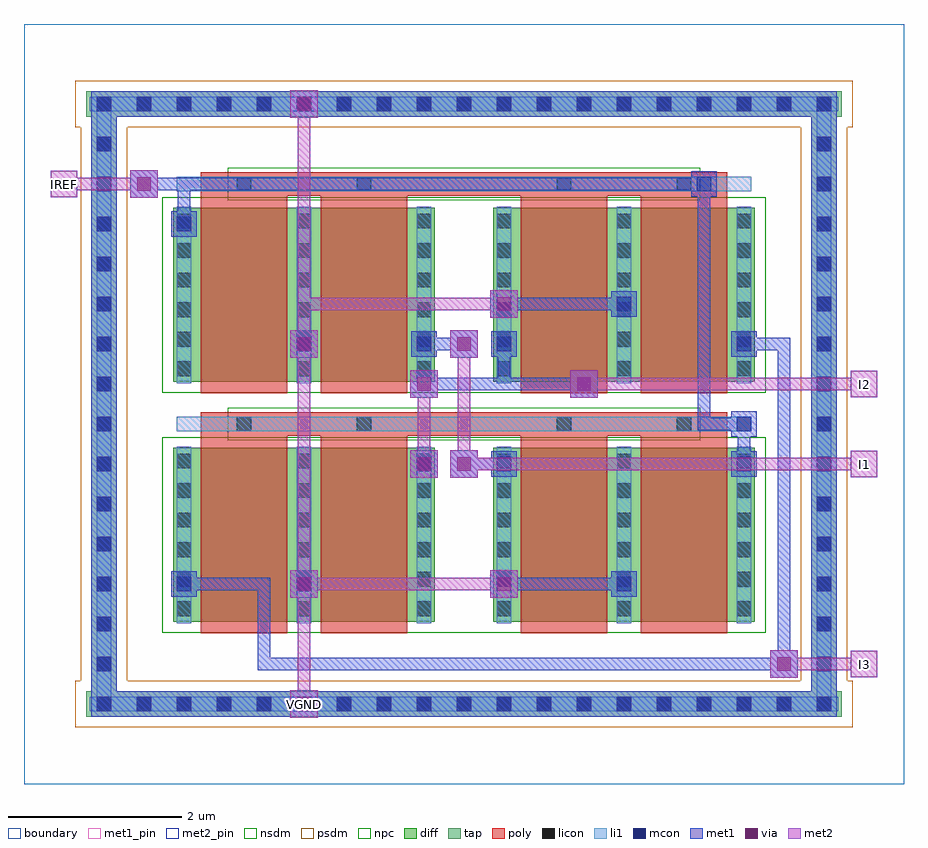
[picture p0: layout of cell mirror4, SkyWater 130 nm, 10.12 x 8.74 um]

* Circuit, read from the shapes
.subckt mirror4 I1 I2 I3 IREF VGND
XM1 VGND IREF I3 VGND sky130_fd_pr__nfet_01v8 w=2 l=1 m=2
XM2 VGND IREF IREF VGND sky130_fd_pr__nfet_01v8 w=2 l=1 m=2
XM3 I2 IREF VGND VGND sky130_fd_pr__nfet_01v8 w=2 l=1 m=2
XM4 I1 IREF VGND VGND sky130_fd_pr__nfet_01v8 w=2 l=1 m=2
.ends

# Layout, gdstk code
import gdstk
lib = gdstk.Library(unit=1e-6, precision=1e-09)
def R(c, l, rs):  # rectangles x0, y0, x1, y1
    for r in rs: c.add(gdstk.rectangle(r[:2], r[2:], *l))
def A(c, l, x, y, w, h, nx, ny, dx, dy):  # array of equal rectangles
    R(c, l, [(x+i*dx, y+j*dy, x+i*dx+w, y+j*dy+h) for i in range(nx) for j in range(ny)])
diff = (65, 20)
tap = (65, 44)
poly = (66, 20)
licon = (66, 44)
li1 = (67, 20)
mcon = (67, 44)
met1_pin = (68, 16)
met1 = (68, 20)
via = (68, 44)
met2_pin = (69, 16)
met2 = (69, 20)
nsdm = (93, 44)
psdm = (94, 20)
npc = (95, 20)
boundary = (235, 4)

mirror4 = lib.new_cell('mirror4')
R(mirror4, diff, [(1.715,1.865,4.725,3.865), (5.395,1.865,8.405,3.865), (1.715,4.625,4.725,6.625), (5.395,4.625,8.405,6.625)])
R(mirror4, tap, [(0.715,0.775,9.405,1.065), (0.775,0.775,1.065,7.965), (9.055,0.775,9.345,7.965), (0.715,7.675,9.405,7.965)])
R(mirror4, poly, [(2.03,1.735,3.03,4.14), (3.41,1.735,4.41,4.14), (5.71,1.735,6.71,4.14), (7.09,1.735,8.09,4.14), (2.03,4.005,8.09,4.275), (2.03,4.495,3.03,6.9), (3.41,4.495,4.41,6.9), (5.71,4.495,6.71,6.9), (7.09,4.495,8.09,6.9), (2.03,6.765,8.09,7.035)])
A(mirror4, licon, 0.835, 0.835, 0.17, 0.17, 19, 2, 0.46, 6.9)
A(mirror4, licon, 0.835, 1.295, 0.17, 0.17, 1, 14, 0, 0.46)
A(mirror4, licon, 9.115, 1.295, 0.17, 0.17, 1, 14, 0, 0.46)
A(mirror4, licon, 1.755, 1.93, 0.17, 0.17, 3, 6, 1.38, 0.34)
A(mirror4, licon, 5.435, 1.93, 0.17, 0.17, 3, 6, 1.38, 0.34)
A(mirror4, licon, 1.755, 4.69, 0.17, 0.17, 3, 6, 1.38, 0.34)
A(mirror4, licon, 5.435, 4.69, 0.17, 0.17, 3, 6, 1.38, 0.34)
R(mirror4, licon, [(2.445,4.055,2.615,4.225), (3.825,4.055,3.995,4.225), (6.125,4.055,6.295,4.225), (7.505,4.055,7.675,4.225), (2.445,6.815,2.615,6.985), (3.825,6.815,3.995,6.985), (6.125,6.815,6.295,6.985), (7.505,6.815,7.675,6.985)])
A(mirror4, li1, 1.755, 1.85, 0.17, 2.03, 3, 2, 1.38, 2.76)
A(mirror4, li1, 5.435, 1.85, 0.17, 2.03, 3, 2, 1.38, 2.76)
R(mirror4, li1, [(0.755,0.835,9.365,1.005), (0.835,0.835,1.005,7.905), (9.115,0.835,9.285,7.905), (1.755,4.055,8.365,4.225), (1.755,6.815,8.365,6.985), (0.755,7.735,9.365,7.905)])
A(mirror4, mcon, 0.835, 0.835, 0.17, 0.17, 19, 2, 0.46, 6.9)
A(mirror4, mcon, 0.835, 1.295, 0.17, 0.17, 1, 14, 0, 0.46)
A(mirror4, mcon, 9.115, 1.295, 0.17, 0.17, 1, 14, 0, 0.46)
R(mirror4, mcon, [(1.755,2.215,1.925,2.385), (3.135,2.215,3.305,2.385), (6.815,2.215,6.985,2.385), (4.515,3.595,4.685,3.765), (5.435,3.595,5.605,3.765), (8.195,3.595,8.365,3.765), (8.195,4.055,8.365,4.225), (3.135,4.975,3.305,5.145), (4.515,4.975,4.685,5.145), (5.435,4.975,5.605,5.145), (8.195,4.975,8.365,5.145), (6.815,5.435,6.985,5.605), (1.755,6.355,1.925,6.525), (7.735,6.815,7.905,6.985)])
R(mirror4, met1_pin, [(3.15,0.85,3.29,0.99)])
A(mirror4, met1, 3.06, 2.14, 0.32, 0.32, 1, 3, 0, 2.76)
R(mirror4, met1, [(3.06,0.76,3.38,1.08), (0.775,0.775,9.345,1.065), (0.775,0.775,1.065,7.965), (9.055,0.775,9.345,7.965), (3.15,0.85,3.29,0.99), (8.58,1.22,8.9,1.54), (2.69,1.31,8.81,1.45), (2.69,1.31,2.83,2.37), (8.67,1.31,8.81,5.13), (5.36,2.14,5.68,2.46), (1.695,2.155,1.985,2.445), (3.075,2.155,3.365,2.445), (6.755,2.155,7.045,2.445), (1.77,2.23,2.83,2.37), (5.45,2.23,6.97,2.37), (4.44,3.52,4.76,3.84), (4.9,3.52,5.22,3.84), (4.455,3.535,4.745,3.825), (5.375,3.535,5.665,3.825), (8.135,3.535,8.425,3.825), (4.99,3.61,5.59,3.75), (8.21,3.61,8.35,4.21), (8.135,3.995,8.425,4.285), (7.75,4.07,8.35,4.21), (7.75,4.07,7.89,6.97), (4.44,4.44,4.76,4.76), (6.28,4.44,6.6,4.76), (4.53,4.53,5.59,4.67), (5.45,4.53,5.59,5.13), (5.45,4.53,6.51,4.67), (4.9,4.9,5.22,5.22), (3.075,4.915,3.365,5.205), (4.455,4.915,4.745,5.205), (5.375,4.915,5.665,5.205), (8.135,4.915,8.425,5.205), (4.53,4.99,5.13,5.13), (8.21,4.99,8.81,5.13), (5.36,5.36,5.68,5.68), (6.755,5.375,7.045,5.665), (5.45,5.45,6.97,5.59), (1.695,6.295,1.985,6.585), (1.77,6.37,1.91,6.97), (1.22,6.74,1.54,7.06), (7.675,6.755,7.965,7.045), (1.31,6.83,1.91,6.97), (1.77,6.83,7.89,6.97), (0.775,7.675,9.345,7.965), (3.15,7.75,3.29,7.89)])
A(mirror4, via, 3.145, 2.225, 0.15, 0.15, 1, 3, 0, 2.76)
R(mirror4, via, [(3.145,0.845,3.295,0.995), (8.665,1.305,8.815,1.455), (5.445,2.225,5.595,2.375), (4.525,3.605,4.675,3.755), (4.985,3.605,5.135,3.755), (4.525,4.525,4.675,4.675), (6.365,4.525,6.515,4.675), (4.985,4.985,5.135,5.135), (5.445,5.445,5.595,5.595), (1.305,6.825,1.455,6.975)])
R(mirror4, met2_pin, [(9.51,1.23,9.81,1.53), (9.51,3.53,9.81,3.83), (9.51,4.45,9.81,4.75), (0.31,6.75,0.61,7.05)])
A(mirror4, met2, 3.06, 2.14, 0.32, 0.32, 1, 3, 0, 2.76)
R(mirror4, met2, [(3.06,0.76,3.38,1.08), (3.15,0.85,3.29,2.37), (8.58,1.22,8.9,1.54), (9.51,1.23,9.81,1.53), (8.67,1.31,9.73,1.45), (9.59,1.31,9.73,1.45), (5.36,2.14,5.68,2.46), (3.15,2.23,3.29,5.13), (3.15,2.23,5.59,2.37), (4.44,3.52,4.76,3.84), (4.9,3.52,5.22,3.84), (9.51,3.53,9.81,3.83), (4.53,3.61,4.67,4.67), (4.99,3.61,5.13,5.13), (4.99,3.61,9.73,3.75), (9.59,3.61,9.73,3.75), (4.44,4.44,4.76,4.76), (6.28,4.44,6.6,4.76), (9.51,4.45,9.81,4.75), (6.37,4.53,9.73,4.67), (9.59,4.53,9.73,4.67), (4.9,4.9,5.22,5.22), (3.15,4.99,3.29,7.89), (5.36,5.36,5.68,5.68), (3.15,5.45,5.59,5.59), (1.22,6.74,1.54,7.06), (0.31,6.75,0.61,7.05), (0.39,6.83,0.53,6.97), (0.39,6.83,1.45,6.97)])
R(mirror4, nsdm, [(1.59,1.74,8.53,3.99), (1.59,4.5,8.53,6.75)])
R(mirror4, psdm, [(0.59,0.65,9.53,1.19), (0.65,1.19,1.19,7.55), (8.93,1.19,9.47,7.55), (0.59,7.55,9.53,8.09)])
R(mirror4, npc, [(2.345,3.955,7.775,4.325), (2.345,6.715,7.775,7.085)])
R(mirror4, boundary, [(0,0,10.12,8.74)])
mirror4.add(gdstk.Label('VGND', (3.22,0.92), layer=68, texttype=5))
mirror4.add(gdstk.Label('IREF', (0.46,6.9), layer=69, texttype=5))
mirror4.add(gdstk.Label('I1', (9.66,3.68), layer=69, texttype=5))
mirror4.add(gdstk.Label('I2', (9.66,4.6), layer=69, texttype=5))
mirror4.add(gdstk.Label('I3', (9.66,1.38), layer=69, texttype=5))
mirror4.add(gdstk.Label('VGND', (3.22,0.92), layer=68, texttype=16))
mirror4.add(gdstk.Label('IREF', (0.46,6.9), layer=69, texttype=16))
mirror4.add(gdstk.Label('I1', (9.66,3.68), layer=69, texttype=16))
mirror4.add(gdstk.Label('I2', (9.66,4.6), layer=69, texttype=16))
mirror4.add(gdstk.Label('I3', (9.66,1.38), layer=69, texttype=16))

lib.write_gds('mirror4.gds')
